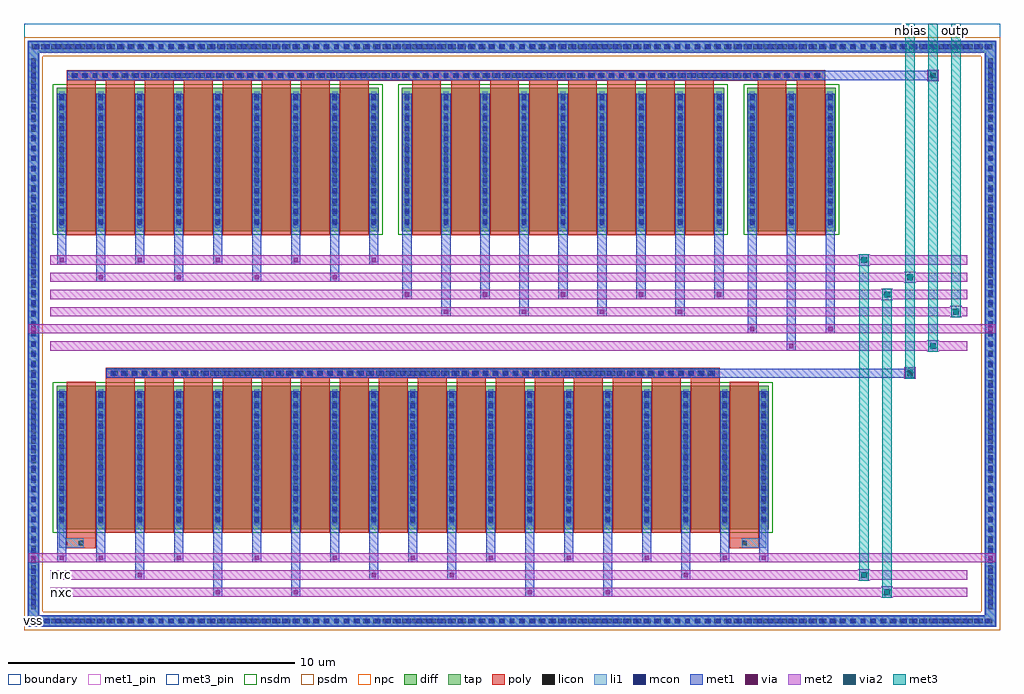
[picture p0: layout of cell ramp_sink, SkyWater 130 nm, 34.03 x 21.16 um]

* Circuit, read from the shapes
.subckt ramp_sink cbias nbias nrc nxc outp vss
XM1 vss vss vss vss sky130_fd_pr__nfet_01v8 w=5 l=1 m=2
XM2 nbias cbias nrc vss sky130_fd_pr__nfet_01v8 w=5 l=1 m=8
XM3 nrc nbias vss vss sky130_fd_pr__nfet_01v8 w=5 l=1 m=8
XM4 nxc nbias vss vss sky130_fd_pr__nfet_01v8 w=5 l=1 m=8
XM5 outp cbias nxc vss sky130_fd_pr__nfet_01v8 w=5 l=1 m=8
XM6 cbias cbias vss vss sky130_fd_pr__nfet_01v8 w=5 l=1 m=2
.ends

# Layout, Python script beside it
#!/usr/bin/env python3
"""FDVPD ramp sink -- sky130A layout generator.

Draws the wide-swing cascode ramp sink that ngspice/tb_ramp_casc.spice proved
(branch C), minus the things that are not part of this cell:

  * I_R and I_b are ideal sources in the testbench; here they are the two
    current INPUTS `nbias` and `cbias`.  Where they come from is Next item 2.
  * C_SAR is the SAR's capacitor array, so `outp` is a port and the 1 pF is
    somebody else's layout.

    device  W/L         nf x W_f   S     G      D      notes
    Mr      40 / 1      8 x 5      vss   nbias  nrc    matched pair, ABBA ABBA
    M1c     40 / 1      8 x 5      vss   nbias  nxc    matched pair, ABBA ABBA
    Mrc     40 / 1      8 x 5      nrc   cbias  nbias  cascode, reference
    M2c     40 / 1      8 x 5      nxc   cbias  outp   cascode, ramp
    Mwb     10 / 1      2 x 5      vss   cbias  cbias  wide-swing bias
    Mdum     5 / 1      2 x 5      vss   vss    vss    dummies around Mr/M1c

There is no precharge device: the front end steers this cell's current into
vn or VDD with an NMOS pair, so the cell is a plain sink and ``outp`` stays
near 0.7 V.  The devices are twice the width they were for the same current
-- half the overdrive -- because that switch sits between ``outp`` and vn,
and vn falls to 0.88 V: every millivolt the sink needs, the switch loses.

Mr and M1c are the only pair whose matching the testbench measures (the 3.7 mV
`mirror_match`), so they are the ones drawn common-centroid: one diffusion,
shared sources, drains in A B B A order, with a grounded dummy finger at each
end so every active finger sees the same poly neighbourhood.

Floorplan, bottom to top -- each row has its S/D routing tracks (m2) below it
and its gate bar (m1) above it, so the two never cross:

    [ p-ring         ]  row 2  Mrc | M2c | Mwb
                        row 1  Mdum Mr M1c M1c Mr Mdum
    routing channel on the right: one m3 vertical per inter-row net

Everything is on a 5 nm grid; the numbers below are in nm.

    python3 ramp_sink.py            # writes ramp_sink.gds next to this file
    python3 ramp_sink.py --png out  # also renders a picture (needs klayout.lay)
"""
import argparse
import os

import klayout.db as kdb

CELL = "ramp_sink"

# sky130 GDS layer / datatype
LAYERS = {
    "nwell": (64, 20), "diff": (65, 20), "tap": (65, 44),
    "poly": (66, 20), "licon": (66, 44), "npc": (95, 20),
    "nsdm": (93, 44), "psdm": (94, 20),
    "li": (67, 20), "mcon": (67, 44),
    "m1": (68, 20), "m1lbl": (68, 5), "m1pin": (68, 16), "via": (68, 44),
    "m2": (69, 20), "m2lbl": (69, 5), "via2": (69, 44),
    "m3": (70, 20), "m3lbl": (70, 5), "m3pin": (70, 16),
    "bound": (235, 4),
}

# --- geometry (nm) -----------------------------------------------------------
SD = 360          # S/D column width: licon 170 + 95 to each gate (licon.11 55)
LIC = 170         # licon / mcon edge
LIC_P = 340       # licon pitch (licon.2 spacing 170)
MCON_P = 360      # mcon pitch (ct.2 spacing 190)
VIA = 150         # via1 edge
VIA2 = 200        # via2 edge
M1W = 320         # m1 strip: via1 150 + 2 x 85 (via.5a)
M2W = 320         # m2 track
M3W = 330         # m3 vertical: via2 200 + 2 x 65
POLY_END = 130    # poly.8 endcap
GB_GAP = 250      # diff top -> gate-bar poly (keeps poly licon 350 off diff)
GB_H = 370        # gate-bar poly: licon 170 + 2 x 100 (npc enclosure)
TRACK_P = 600     # m2 track pitch
TRACK_0 = 1000    # diff bottom -> first track centre (clears dummy heads)
CHAN_P = 800      # m3 pitch in the routing channel
RING_TAP = 410    # tap ring width: licon 170 + 2 x 120 (licon.7)
RING_GAP = 600    # ring inner edge -> anything inside
SDM_ENC = 125     # nsdm / psdm enclosure of diff and tap
NWELL_ENC = 180   # nwell enclosure of pdiff / ntap


def snap(v):
    return int(round(v / 5.0)) * 5


class Drawer:
    def __init__(self, layout, cell):
        self.ly, self.cell = layout, cell
        self.idx = {k: layout.layer(*v) for k, v in LAYERS.items()}

    def rect(self, layer, x0, y0, x1, y1):
        x0, x1 = sorted((snap(x0), snap(x1)))
        y0, y1 = sorted((snap(y0), snap(y1)))
        self.cell.shapes(self.idx[layer]).insert(kdb.Box(x0, y0, x1, y1))
        return (x0, y0, x1, y1)

    def square(self, layer, cx, cy, a):
        return self.rect(layer, cx - a / 2, cy - a / 2, cx + a / 2, cy + a / 2)

    def label(self, layer, text, x, y):
        self.cell.shapes(self.idx[layer]).insert(
            kdb.Text(text, kdb.Trans(snap(x), snap(y))))

    def bbox(self, layers):
        box = kdb.Box()
        for name in layers:
            box += self.cell.bbox_per_layer(self.idx[name])
        return box


def _array(lo, hi, size, pitch):
    """Centres of the most `size` squares at `pitch` that fit in [lo, hi]."""
    n = int((hi - lo - size) // pitch) + 1
    span = (n - 1) * pitch + size
    start = lo + snap((hi - lo - span) / 2) + size / 2
    return [start + i * pitch for i in range(n)]


# =============================================================================
# a row of multi-finger transistors
# =============================================================================
class Row:
    """One row of devices sharing a gate net.

    `diffs` is a list of (cols, dummies): `cols` the S/D net of each column
    (nf + 1 of them), `dummies` the finger indices whose gate goes to vss
    instead of the row's gate net.
    """

    def __init__(self, d, x0, yb, w, l, gate, diffs, gap=800):
        self.d, self.yb, self.w, self.l, self.gate = d, yb, w, l, gate
        self.cols = []        # (x_centre, net, diff_index, col_index)
        self.fingers = []     # (x0, x1, dummy, outer_col_x)
        self.diff_boxes = []
        x = x0
        for di, (cols, dummies) in enumerate(diffs):
            dx0 = x
            for ci, net in enumerate(cols):
                self.cols.append((x + SD / 2, net, di, ci))
                x += SD
                if ci < len(cols) - 1:
                    fi = ci
                    dummy = fi in dummies
                    outer = None
                    if dummy:
                        outer = dx0 + SD / 2 if fi == 0 else x + l + SD / 2
                    self.fingers.append((x, x + l, dummy, outer))
                    x += l
            self.diff_boxes.append((dx0, x))
            x += gap
        self.x1 = x - gap
        self.nets = []
        for _, net, _, _ in self.cols:
            if net not in self.nets:
                self.nets.append(net)
        self.gb0 = yb + w + GB_GAP                  # gate-bar poly bottom
        self.gate_y = self.gb0 + GB_H / 2           # gate-bar centre line

    def track_y(self, net):
        return self.yb - TRACK_0 - self.nets.index(net) * TRACK_P

    @property
    def bottom(self):
        return self.track_y(self.nets[-1]) - M2W / 2

    @property
    def top(self):
        return self.gb0 + GB_H

    def draw(self, sdm, x_right, dummy_net="vss"):
        d, yb, w = self.d, self.yb, self.w
        yt = yb + w
        for dx0, dx1 in self.diff_boxes:
            d.rect("diff", dx0, yb, dx1, yt)
            d.rect(sdm, dx0 - SDM_ENC, yb - SDM_ENC, dx1 + SDM_ENC, yt + SDM_ENC)

        # --- S/D columns: licon -> li -> mcon -> m1 strip down to its track
        lic_y = _array(yb + 60, yt - 60, LIC, LIC_P)
        li_y0, li_y1 = lic_y[0] - LIC / 2 - 80, lic_y[-1] + LIC / 2 + 80
        mc_y = _array(li_y0, li_y1, LIC, MCON_P)
        dummy_outer = {f[3] for f in self.fingers if f[2]}
        head_top = yb - 300
        head_bot = head_top - GB_H
        for cx, net, _, _ in self.cols:
            for y in lic_y:
                d.square("licon", cx, y, LIC)
            li_bot = head_bot + 20 if any(abs(cx - o) < 1 for o in dummy_outer) else li_y0
            d.rect("li", cx - LIC / 2, li_bot, cx + LIC / 2, li_y1)
            for y in mc_y:
                d.square("mcon", cx, y, LIC)
            ty = self.track_y(net)
            d.rect("m1", cx - M1W / 2, ty - VIA / 2 - 85, cx + M1W / 2,
                   mc_y[-1] + LIC / 2 + 60)
            d.square("via", cx, ty, VIA)

        # --- gates
        active = [f for f in self.fingers if not f[2]]
        for fx0, fx1, dummy, outer in self.fingers:
            if not dummy:
                d.rect("poly", fx0, yb - POLY_END, fx1, self.gate_y)
                continue
            # dummy: poly down to a contact head, li across to the outer column
            fc = (fx0 + fx1) / 2
            d.rect("poly", fx0, head_bot, fx1, yt + POLY_END)
            hx0, hx1 = min(fx0, fc - 185), max(fx1, fc + 185)
            d.rect("poly", hx0, head_bot, hx1, head_top)
            ly = head_bot + 100 + LIC / 2
            d.square("licon", fc, ly, LIC)
            d.rect("npc", hx0, head_bot, hx1, head_top)
            d.rect("li", min(outer - LIC / 2, fc - LIC / 2), head_bot + 20,
                   max(outer + LIC / 2, fc + LIC / 2), head_bot + 350)

        # --- gate bar: poly -> licon -> li -> mcon -> m1, out to the channel
        bx0, bx1 = active[0][0], active[-1][1]
        gb0 = self.gb0
        d.rect("poly", bx0, gb0, bx1, gb0 + GB_H)
        d.rect("npc", bx0, gb0, bx1, gb0 + GB_H)
        for x in _array(bx0 + 100, bx1 - 100, LIC, LIC_P):
            d.square("licon", x, self.gate_y, LIC)
        d.rect("li", bx0 + 20, gb0 + 20, bx1 - 20, gb0 + GB_H - 20)
        for x in _array(bx0 + 50, bx1 - 50, LIC, MCON_P):   # m1.4: 30 past bar
            d.square("mcon", x, self.gate_y, LIC)
        d.rect("m1", bx0 + 20, self.gate_y - M1W / 2, x_right, self.gate_y + M1W / 2)

    def tracks(self, x0, x1, ring_x=None):
        """m2 tracks.  vss / vdd run out onto the guard ring and via down to it."""
        for net in self.nets:
            y = self.track_y(net)
            if ring_x and net in ring_x[2]:
                # past the ring's centre line, so the via keeps its enclosure
                e = VIA / 2 + 85
                self.d.rect("m2", ring_x[0] - e, y - M2W / 2, ring_x[1] + e, y + M2W / 2)
                for rx in ring_x[:2]:
                    self.d.square("via", rx, y, VIA)
            else:
                self.d.rect("m2", x0, y - M2W / 2, x1, y + M2W / 2)


def stack(d, x, y, from_m1=True):
    """m1 (optional) -> via1 -> m2 pad -> via2 -> m3, centred on (x, y)."""
    if from_m1:
        d.square("via", x, y, VIA)
    d.square("m2", x, y, 400)
    d.square("via2", x, y, VIA2)


def ring(d, box, tap_sdm, net):
    """Substrate / well tap guard ring just outside `box`, strapped in li + m1."""
    x0, y0 = box.left - RING_GAP - RING_TAP, box.bottom - RING_GAP - RING_TAP
    x1, y1 = box.right + RING_GAP + RING_TAP, box.top + RING_GAP + RING_TAP
    t = RING_TAP
    sides = [(x0, y0, x1, y0 + t), (x0, y1 - t, x1, y1),
             (x0, y0, x0 + t, y1), (x1 - t, y0, x1, y1)]
    for sx0, sy0, sx1, sy1 in sides:
        d.rect("tap", sx0, sy0, sx1, sy1)
        d.rect("li", sx0 + 40, sy0 + 40, sx1 - 40, sy1 - 40)
        d.rect("m1", sx0, sy0, sx1, sy1)
    e = SDM_ENC
    for sx0, sy0, sx1, sy1 in sides:
        d.rect(tap_sdm, sx0 - e, sy0 - e, sx1 + e, sy1 + e)
    # contacts: full length along top and bottom, corners excluded on the sides
    for yc in (y0 + t / 2, y1 - t / 2):
        for x in _array(x0 + 120, x1 - 120, LIC, LIC_P):
            d.square("licon", x, yc, LIC)
        for x in _array(x0 + 120, x1 - 120, LIC, MCON_P):
            d.square("mcon", x, yc, LIC)
    for xc in (x0 + t / 2, x1 - t / 2):
        for y in _array(y0 + t + 200, y1 - t - 200, LIC, LIC_P):
            d.square("licon", xc, y, LIC)
        for y in _array(y0 + t + 200, y1 - t - 200, LIC, MCON_P):
            d.square("mcon", xc, y, LIC)
    d.label("m1lbl", net, x0 + t / 2, y0 + t / 2)
    d.rect("m1pin", x0, y0, x0 + t, y0 + t)
    return (x0, y0, x1, y1), (x0 + t / 2, x1 - t / 2)


def build():
    ly = kdb.Layout()
    ly.dbu = 0.001
    top = ly.create_cell(CELL)
    d = Drawer(ly, top)

    W, L_N = 5000, 1000

    # ---- row 1: Mdum, Mr M1c M1c Mr twice, Mdum -- one diffusion, shared sources
    abba = ["nrc", "vss", "nxc", "vss", "nxc", "vss", "nrc", "vss"]
    r1_cols = ["vss", "vss"] + abba * 2 + ["vss"]
    r1 = Row(d, 0, 0, W, L_N, "nbias", [(r1_cols, {0, len(r1_cols) - 2})])

    # ---- row 2: Mrc | M2c | Mwb, three diffusions under one cbias gate bar
    r2_diffs = [(["nrc", "nbias"] * 4 + ["nrc"], set()),
                (["nxc", "outp"] * 4 + ["nxc"], set()),
                (["vss", "cbias", "vss"], set())]
    probe = Row(d, 0, 0, W, L_N, "cbias", r2_diffs)
    r2_yb = r1.top + 600 + TRACK_0 + (len(probe.nets) - 1) * TRACK_P + M2W / 2
    r2 = Row(d, 0, snap(r2_yb), W, L_N, "cbias", r2_diffs)

    # ---- routing channel, right of both rows
    chan_nets = ["nrc", "nxc", "nbias", "cbias", "outp"]
    chan0 = max(r1.x1, r2.x1) + 1000
    chan = {n: chan0 + i * CHAN_P for i, n in enumerate(chan_nets)}
    x_end = chan[chan_nets[-1]] + 400

    for r in (r1, r2):
        r.draw("nsdm", chan[r.gate] + 200)
    stack(d, chan["nbias"], r1.gate_y)
    stack(d, chan["cbias"], r2.gate_y)
    # nrc / nxc / nbias / cbias / outp land on their row-2 tracks from m3
    for net in ("nrc", "nxc"):
        stack(d, chan[net], r1.track_y(net), from_m1=False)
        # internal, not ports -- named so the extracted netlist can be probed
        d.label("m2lbl", net, r1.cols[0][0], r1.track_y(net))
    for net in ("nrc", "nbias", "nxc", "outp", "cbias"):
        stack(d, chan[net], r2.track_y(net), from_m1=False)

    # p-ring: sized from everything drawn so far, then vss tracks reach it
    inner = d.bbox(["diff", "poly", "li", "m1", "m2"])
    inner = kdb.Box(inner.left, inner.bottom, max(inner.right, x_end), inner.top)
    pring_box, pring_x = ring(d, inner, "psdm", "vss")
    for r in (r1, r2):
        r.tracks(r.cols[0][0] - 400, x_end, (pring_x[0], pring_x[1], {"vss"}))

    # ---- m3 verticals; the three signal ports leave through the top edge
    y_top = pring_box[3] + 600
    spans = {
        "nrc": (r1.track_y("nrc"), r2.track_y("nrc")),
        "nxc": (r1.track_y("nxc"), r2.track_y("nxc")),
        "nbias": (r1.gate_y, y_top),
        "cbias": (r2.track_y("cbias"), y_top),
        "outp": (r2.track_y("outp"), y_top),
    }
    for net, (ya, yb) in spans.items():
        x = chan[net]
        y0, y1 = min(ya, yb) - 200, max(ya, yb) + (0 if yb == y_top else 200)
        d.rect("m3", x - M3W / 2, y0, x + M3W / 2, y1)
        if yb == y_top:
            d.rect("m3pin", x - M3W / 2, y_top - 500, x + M3W / 2, y_top)
            d.label("m3lbl", net, x, y_top - 250)

    full = d.bbox(list(LAYERS))
    d.rect("bound", full.left, full.bottom, full.right, full.top)
    return ly, top


def main():
    ap = argparse.ArgumentParser(description=__doc__.split("\n")[0])
    here = os.path.dirname(os.path.abspath(__file__))
    ap.add_argument("-o", "--out", default=os.path.join(here, CELL + ".gds"))
    ap.add_argument("--png", help="also render the layout to this PNG")
    args = ap.parse_args()
    ly, top = build()
    ly.write(args.out)
    bb = top.dbbox()
    print(f"wrote {args.out}: {bb.width():.2f} x {bb.height():.2f} um")
    if args.png:
        render(args.out, args.png)


def render(gds, png):
    import klayout.lay as klay
    view = klay.LayoutView()
    view.load_layout(gds)
    view.max_hier()
    view.set_config("background-color", "#ffffff")
    view.set_config("grid-visible", "false")
    colours = {
        "nwell": 0xa0a0ff, "diff": 0x40c040, "tap": 0x208020, "poly": 0xff4040,
        "li": 0xa050ff, "m1": 0x4080ff, "m2": 0xff9f40, "m3": 0x40c0c0,
    }
    it = view.begin_layers()
    while not it.at_end():
        lp = it.current()
        name = next((k for k, v in LAYERS.items()
                     if v == (lp.source_layer, lp.source_datatype)), None)
        props = lp.dup()
        props.visible = name in colours
        if name in colours:
            props.fill_color = props.frame_color = colours[name]
            props.dither_pattern = 5 if name in ("m2", "m3", "nwell") else 1
            props.transparent = True
        view.set_layer_properties(it, props)
        it.next()
    view.zoom_fit()
    view.save_image(png, 1400, 1800)
    print(f"wrote {png}")


if __name__ == "__main__":
    main()
